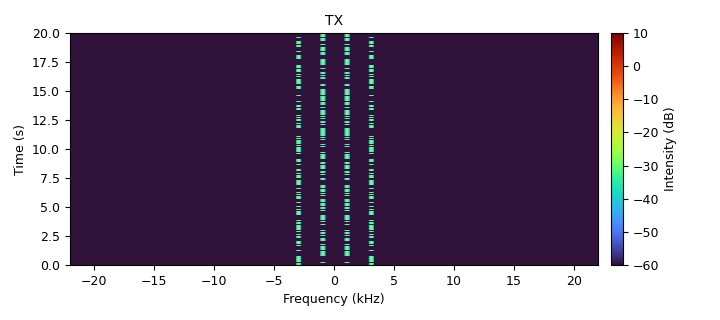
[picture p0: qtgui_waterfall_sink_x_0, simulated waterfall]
options:
  parameters:
    author: Barry Duggan
    comment: 'Source: https://github.com/duggabe/gr-control/blob/main/Transmitters/pkt_fsk_xmt_rcv.grc'
    description: packet FSK xmt rcv v1
    generate_options: qt_gui
    id: pkt_fsk_xmt_rcv_v1
    output_language: python
    title: pkt_fsk_xmt_rcv_v1
  states: {}

blocks:
- name: baud
  id: variable
  parameters:
    value: '100'
  states: {}
- name: baud_rate_slider
  id: variable_qtgui_range
  parameters:
    rangeType: int
    start: '10'
    step: '1'
    stop: '4000'
    value: '50'
  states: {}
- name: center
  id: variable
  parameters:
    value: (mark+space)/2
  states: {}
- name: decim
  id: variable
  parameters:
    value: '20'
  states: {}
- name: fsk_deviation
  id: variable
  parameters:
    value: (abs)(mark-space)
  states: {}
- name: inp_amp
  id: variable
  parameters:
    value: (mark/vco_max)-vco_offset
  states: {}
- name: mark
  id: variable
  parameters:
    value: '1000'
  states: {}
- name: phase_bw
  id: variable
  parameters:
    value: math.pi/32
  states: {}
- name: repeat
  id: variable
  parameters:
    value: (int)(samp_rate/baud_rate_slider)
  states: {}
- name: samp_rate
  id: variable
  parameters:
    comment: |-
      |----------------------------------------------------------------------------------------->
      User set values
    value: '44100'
  states: {}
- name: space
  id: variable
  parameters:
    value: '3000'
  states: {}
- name: sps
  id: variable
  parameters:
    value: (int)(repeat/decim)
  states: {}
- name: thresh
  id: variable
  parameters:
    value: '1'
  states: {}
- name: vco_max
  id: variable
  parameters:
    value: center+fsk_deviation
  states: {}
- name: vco_offset
  id: variable
  parameters:
    value: space/vco_max
  states: {}
- name: analog_random_uniform_source_x_0
  id: analog_random_uniform_source_x
  parameters:
    maximum: '255'
    minimum: '0'
    seed: '0'
    type: byte
  states: {}
- name: audio_sink_0
  id: audio_sink
  parameters:
    samp_rate: samp_rate
  states: {}
- name: audio_source_0
  id: audio_source
  parameters:
    samp_rate: samp_rate
  states: {}
- name: blocks_add_const_vxx_0
  id: blocks_add_const_vxx
  parameters:
    comment: vco_offset
    const: vco_offset
    type: float
  states: {}
- name: blocks_multiply_const_vxx_0
  id: blocks_multiply_const_vxx
  parameters:
    comment: inp_amp
    const: inp_amp
    type: float
  states: {}
- name: blocks_repack_bits_bb_1_0
  id: blocks_repack_bits_bb
  parameters:
    endianness: gr.GR_MSB_FIRST
    k: '8'
    l: '1'
    len_tag_key: ''
  states: {}
- name: blocks_repeat_0
  id: blocks_repeat
  parameters:
    interp: repeat
    type: byte
  states: {}
- name: blocks_uchar_to_float_0
  id: blocks_uchar_to_float
  parameters: {}
  states: {}
- name: blocks_vco_f_0
  id: blocks_vco_f
  parameters:
    amplitude: '0.25'
    samp_rate: samp_rate
    sensitivity: 2*math.pi*vco_max
  states: {}
- name: blocks_vector_source_x_0
  id: blocks_vector_source_x
  parameters:
    repeat: 'True'
    type: byte
    vector: (0x55, 0x55, 0x55)
  states: {state: disabled}
- name: import_0
  id: import
  parameters:
    imports: import math
  states: {}
- name: note_0
  id: note
  parameters:
    comment: |-
      |----------------------------------------------------------------------------------------------------------------------------------------------------------|
      Calculated values:
      -   center freq = (mark+space)/2
      -   repeat = (int)(samp_rate/baud)
      -   fsk_deviation = (abs)(mark-space)
      -   vco_max = center+fsk_deviation
      -   vco_offset = space/vco_max
      -   inp_amp = (mark/vco_max)-vco_offset
      -   vco sensitivity = 2*math.pi*vco_max
  states: {}
- name: note_0_0
  id: note
  parameters:
    comment: |-
      |----------------------------------------------------------------------------------------->
      Calculated values:
      -   sps = (int)(repeat/decim)
      -  decim = 
      -   Quad Demod Gain = samp_rate/(2*math.pi*fsk_deviation)
  states: {}
- name: qtgui_freq_sink_x_0
  id: qtgui_freq_sink_x
  parameters:
    bw: samp_rate
    fc: '0'
    fftsize: 1024*32
    label1: TX
    label2: RX
    nconnections: '2'
    type: float
    ymax: '-10'
    ymin: '-90'
  states: {}
- name: qtgui_time_sink_x_1
  id: qtgui_time_sink_x
  parameters:
    color1: red
    label1: TX
    label2: RX
    name: TX/RX
    nconnections: '2'
    size: '1024'
    srate: samp_rate
    type: float
  states: {}
- name: qtgui_waterfall_sink_x_0
  id: qtgui_waterfall_sink_x
  parameters:
    bw: samp_rate
    fc: '0'
    fftsize: '512'
    int_min: '-60'
    name: TX
    type: float
  states: {}
- name: qtgui_waterfall_sink_x_0_0
  id: qtgui_waterfall_sink_x
  parameters:
    bw: samp_rate
    fc: '0'
    fftsize: '512'
    int_min: '-60'
    name: RX
    type: float
  states: {}
- name: virtual_sink_0
  id: virtual_sink
  parameters:
    stream_id: t2
  states: {}
- name: virtual_sink_0_0
  id: virtual_sink
  parameters:
    stream_id: t1
  states: {}
- name: virtual_source_0
  id: virtual_source
  parameters:
    stream_id: t2
  states: {}
- name: virtual_source_0_0
  id: virtual_source
  parameters:
    stream_id: t1
  states: {}

connections:
- [analog_random_uniform_source_x_0, '0', virtual_sink_0_0, '0']
- [audio_source_0, '0', qtgui_freq_sink_x_0, '1']
- [audio_source_0, '0', qtgui_time_sink_x_1, '1']
- [audio_source_0, '0', qtgui_waterfall_sink_x_0_0, '0']
- [blocks_add_const_vxx_0, '0', blocks_vco_f_0, '0']
- [blocks_multiply_const_vxx_0, '0', blocks_add_const_vxx_0, '0']
- [blocks_repack_bits_bb_1_0, '0', blocks_repeat_0, '0']
- [blocks_repeat_0, '0', blocks_uchar_to_float_0, '0']
- [blocks_uchar_to_float_0, '0', virtual_sink_0, '0']
- [blocks_vco_f_0, '0', audio_sink_0, '0']
- [blocks_vco_f_0, '0', qtgui_freq_sink_x_0, '0']
- [blocks_vco_f_0, '0', qtgui_time_sink_x_1, '0']
- [blocks_vco_f_0, '0', qtgui_waterfall_sink_x_0, '0']
- [blocks_vector_source_x_0, '0', virtual_sink_0_0, '0']
- [virtual_source_0, '0', blocks_multiply_const_vxx_0, '0']
- [virtual_source_0_0, '0', blocks_repack_bits_bb_1_0, '0']

metadata:
  file_format: 1
  grc_version: 3.10.9.2
